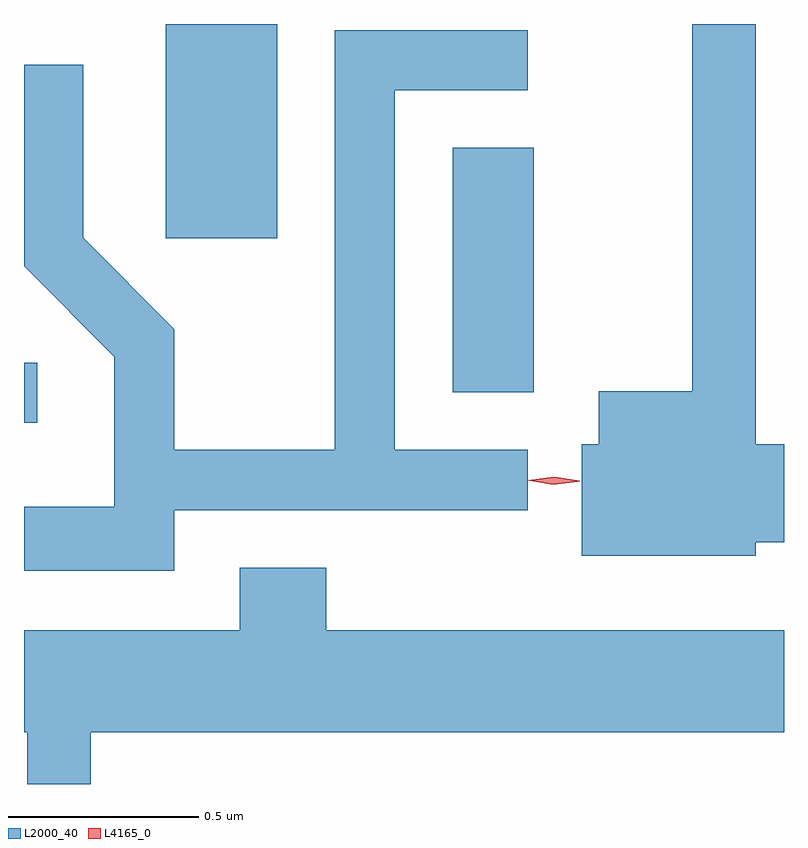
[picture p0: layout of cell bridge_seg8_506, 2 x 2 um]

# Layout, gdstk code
import gdstk
lib = gdstk.Library(unit=1e-6, precision=1e-09)
def R(c, l, rs):  # rectangles x0, y0, x1, y1
    for r in rs: c.add(gdstk.rectangle(r[:2], r[2:], *l))
def P(c, l, *ps):  # polygons
    for p in ps: c.add(gdstk.Polygon(p, *l))
L2000_40 = (2000, 40)
L4165_0 = (4165, 0)

bridge_seg8_506 = lib.new_cell('bridge_seg8_506')
R(bridge_seg8_506, L2000_40, [(338.473,1897.171,338.508,1897.329), (339.601,1897.251,339.814,1897.894), (338.846,1897.656,339.139,1898.22)])
P(bridge_seg8_506, L2000_40, [(340.399,1896.856),(340.473,1896.856),(340.473,1897.114),(340.399,1897.114),(340.399,1898.22),(340.231,1898.22),(340.231,1897.254),(339.986,1897.254),(339.986,1897.114),(339.941,1897.114),(339.941,1896.821),(340.399,1896.821)],
  [(338.869,1896.941),(339.798,1896.941),(339.798,1897.099),(339.449,1897.099),(339.449,1898.046),(339.798,1898.046),(339.798,1898.204),(339.291,1898.204),(339.291,1897.099),(338.869,1897.099),(338.869,1897.417),(338.629,1897.657),(338.629,1898.113),(338.473,1898.113),(338.473,1897.582),(338.711,1897.344),(338.711,1896.949),(338.473,1896.949),(338.473,1896.781),(338.869,1896.781)],
  [(338.649,1896.356),(340.473,1896.356),(340.473,1896.624),(339.269,1896.624),(339.269,1896.789),(339.041,1896.789),(339.041,1896.624),(338.473,1896.624),(338.473,1896.356),(338.481,1896.356),(338.481,1896.22),(338.649,1896.22)])
P(bridge_seg8_506, L4165_0, [(339.868,1897.009),(339.8,1897.02),(339.8,1897.02),(339.8,1897.02),(339.868,1897.029),(339.935,1897.018),(339.936,1897.018),(339.935,1897.017)],
  [(339.866,1897.007),(339.804,1897.018),(339.803,1897.018),(339.804,1897.019),(339.867,1897.027),(339.93,1897.016),(339.93,1897.016),(339.93,1897.015)])

lib.write_gds('bridge_seg8_506.gds')
